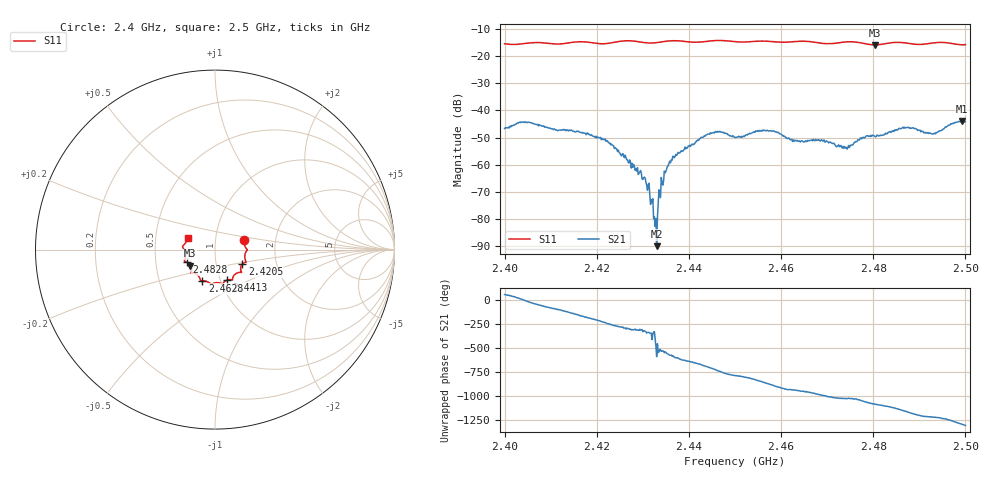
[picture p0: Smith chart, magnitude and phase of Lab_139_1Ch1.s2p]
# Hz S RI R 50
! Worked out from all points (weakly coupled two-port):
!   601 points, 2.4 GHz to 2.5 GHz, reference 50 ohm
!   highest |S21| = -43.89 dB at 2.4993 GHz (marker M1); lowest = -90.2 dB at 2.433 GHz (marker M2)
!   lowest |S11| = -15.7 dB at 2.4803 GHz (marker M3), VSWR 1.39, Z = 37.4 - j6.84 ohm
!   |S11| at or under -10 dB: start of sweep to end of sweep
!   S12 and S22 are empty: the file has one direction only
!   S11 on the Smith chart (normalised r, x): 2.4 GHz: 1.38, +0.15; 2.4205 GHz: 1.34, -0.22; 2.4413 GHz: 1.08, -0.38; 2.4628 GHz: 0.82, -0.29; 2.4828 GHz: 0.72, -0.10; 2.5 GHz: 0.73, +0.10
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2.4e9  0.1629 0.0526  0.0025 0.00389  0 0  0 0
2.416667e9  0.1734 -0.0696  -0.00381 -0.000885  0 0  0 0
2.4205e9  0.152 -0.0809  -0.00264 0.00177  0 0  0 0
2.43e9  0.1283 -0.1288  0.000455 0.000274  0 0  0 0
2.432667e9  0.1038 -0.1455  4.92e-05 -5.19e-05  0 0  0 0
2.433e9  0.102 -0.1485  -2.08e-05 2.29e-05  0 0  0 0
2.433333e9  0.1004 -0.1512  -0.000192 1.62e-05  0 0  0 0
2.4345e9  0.098 -0.1605  -0.000491 -8.15e-05  0 0  0 0
2.436167e9  0.0978 -0.1681  -0.00103 0.000656  0 0  0 0
2.441333e9  0.0675 -0.1697  0.000985 0.0023  0 0  0 0
2.446167e9  0.0416 -0.1927  0.00403 -0.000833  0 0  0 0
2.45e9  0.0247 -0.1857  0.00139 -0.00289  0 0  0 0
2.456667e9  -0.0238 -0.1899  -0.00332 -0.00256  0 0  0 0
2.462833e9  -0.0712 -0.1736  -0.00226 0.0015  0 0  0 0
2.466667e9  -0.0817 -0.1673  -0.0013 0.00253  0 0  0 0
2.473833e9  -0.1309 -0.1304  0.00115 0.0018  0 0  0 0
2.480333e9  -0.1372 -0.089  0.00335 -7.15e-05  0 0  0 0
2.482833e9  -0.1587 -0.0701  0.00343 -0.00145  0 0  0 0
2.483333e9  -0.1626 -0.0683  0.00345 -0.00183  0 0  0 0
2.493e9  -0.1776 0.00934  -0.00261 -0.00257  0 0  0 0
2.499333e9  -0.1549 0.0545  -0.00546 0.00332  0 0  0 0
2.5e9  -0.1522 0.0639  -0.00455 0.0042  0 0  0 0
